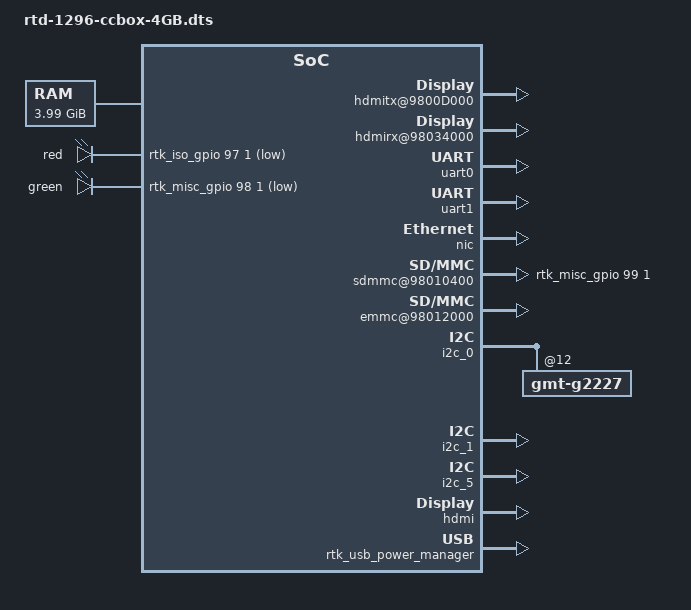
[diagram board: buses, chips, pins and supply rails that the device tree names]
/dts-v1/;
#include "../../../../../include/soc/realtek/memory.h"

/memreserve/ SYS_BOOTCODE_MEMBASE       SYS_BOOTCODE_MEMSIZE        ; /* 0x00000000 ~ 0x0002ffff */
/memreserve/ RPC_COMM_PHYS              RPC_COMM_SIZE               ; /* 0x0001f000 ~ 0x0001ffff */
/memreserve/ RPC_RINGBUF_PHYS           RPC_RINGBUF_SIZE            ; /* 0x01ffe000 ~ 0x02001fff */
/memreserve/ ROOTFS_NORMAL_START        ROOTFS_NORMAL_SIZE          ; /* 0x02200000 ~ 0x025fffff */
/memreserve/ ACPU_IDMEM_PHYS            ACPU_IDMEM_SIZE             ; /* 0x10000000 ~ 0x10013fff */
/memreserve/ 0x10100000                 0x04100000                  ; /* 0x10100000 ~ 0x141fffff */

#include "rtd-129x-ion-2GB-tee.dtsi"
#include "rtd-1296-saola-common.dtsi"

/ {
	chosen {
        linux,initrd-start = <ROOTFS_NORMAL_START>;
        linux,initrd-end = <ROOTFS_NORMAL_END>;
        bootargs = "earlycon=uart8250,mmio32,0x98007800 console=ttyS0,115200 init=/init androidboot.hardware=kylin androidboot.storage=emmc loglevel=4";
	};

	chosen {
        compatible = "Realtek,rtk1295-cma_info";
        /* NOTE ---------------------------------------------------------------------------------------------*/
        /* <flag size base>                                                                                  */
        /* flag: reserved                                                                                    */
        /* size: unit is byte                                                                                */
        /* base: unit is byte                                                                                */
        /* --------------------------------------------------------------------------------------------------*/
        /* Array size not over 8;                                                                            */
        /* You may change the max array size in KConfig, max CMA array size is CONFIG_CMA_AREAS+1            */
        /* If cma-region-enable is enabled<1>, kernel driver will use cma-region-info to initial CMA memory. */
        /* If cma-region-enable is disabled<0>, kernel driver will use cma= to initial CMA memory.           */
        /* if both setting is loaded, cma-region-info had higher priority.                                   */
        /* --------------------------------------------------------------------------------------------------*/
        cma-region-enable = <1>;
        cma-region-info = <0x00000000 0x02000000 0x20000000>;
        /*cma-region-info = <0x00000000 0x01000000 0x12c00000>, <0x00000000 0x12c00000 0x20000000>;*/
	};

    memory {
        device_type = "memory";
	reg = <0x00000000 0x98000000 0x98200000 0x66E00000 0xff800000 0x7f0000>; /* 4096 MB */
    };

    firmware {
        optee {
            compatible = "linaro,optee-tz";
            method = "smc";
        };
    };

    mem_remap {
        compatible = "Realtek,rtk1295-mem_remap";
        #address-cells = <1>;
        #size-cells = <1>;
        ranges;

        rbus {
            reg = <RBUS_BASE_PHYS RBUS_BASE_SIZE>;
        };

        common {
            reg = <RPC_COMM_PHYS RPC_COMM_SIZE>;
        };

        ringbuf {
            reg = <RPC_RINGBUF_PHYS RPC_RINGBUF_SIZE>;
        };
    };

    rtk,ion {
        rtk,ion-heap@9 {    /* Secure */
            compatible = "Realtek,rtk-ion-reserve";
            reg = <9>;
            rtk,memory-reserve = <
                ION_SECURE_HEAP_PHYS ION_SECURE_HEAP_SIZE ION_SECURE_HEAP_FLAG
                >;
        };

        rtk,ion-heap@8 {    /* Audio */
            compatible = "Realtek,rtk-ion-reserve";
            reg = <8>;
            rtk,memory-reserve = <
                ION_AUDIO_HEAP_PHYS ION_AUDIO_HEAP_SIZE ION_AUDIO_HEAP_FLAG
                >;
        };

        rtk,ion-heap@7 {    /* TYPE_MEDIA */
            compatible = "Realtek,rtk-ion-reserve";
            reg = <7>;
            rtk,memory-reserve = <
                ION_MEDIA_HEAP_PHYS1 ION_MEDIA_HEAP_SIZE1 ION_MEDIA_HEAP_FLAG1
                ION_MEDIA_HEAP_PHYS2 ION_MEDIA_HEAP_SIZE2 ION_MEDIA_HEAP_FLAG2
                ION_MEDIA_HEAP_PHYS3 ION_MEDIA_HEAP_SIZE3 ION_MEDIA_HEAP_FLAG3
                >;
        };
    };

    reserved-memory {
        #address-cells = <1>;
        #size-cells = <1>;
        ranges;

        tee_reserved: tee {
            no-map;
            size = <0x04100000>;
            alloc-ranges = <0x10100000 0x04100000>;
        };  
        ramoops_mem: ramoops_mem {
            reg = <0x22000000 0x00040000>;
            reg-names = "ramoops_mem";
            no-map;
        };
    };

    rfkill: rfkilligpio@0{
        gpios = <&rtk_iso_gpio 24 1 0>; /*bt power , output, default low */
        status = "disabled";
    };

    power-management{
        wakeup-gpio-enable = <0>;
        wakeup-gpio-list = <&rtk_iso_gpio 30 0 0>; /* power key */
        wakeup-gpio-activity = <1>;
	pwms;
	status = "okay";
    };

    rtk_misc_gpio@9801b100 {
        gpios = <&rtk_misc_gpio 55 1 0>; /* HDMITX_OFF pin default out low */
        status = "okay";
    };

    rtk_iso_gpio@98007100 {
        status = "okay";
    };

    hdmitx@9800D000 {
        gpio-hpd-detect = <&rtk_iso_gpio 6 0 0>; /* Hotplug detect pin */
	gpio-hdmitx-sel = <&rtk_misc_gpio 61 1 0>; /* TS3DV642 SEL2 */
        /* gpio-audio-mute = <&rtk_misc_gpio 100 1 1>; */ /* Audio DAC mute control */
        status = "okay";
    };

    hdcptx@9800D000 {
        status = "okay";
    };

    hdmirx@98034000 {
        gpio-rx-hpd-ctrl = <&rtk_iso_gpio 22 1 0>;
	gpio-rx-sel = <&rtk_misc_gpio 62 1 1>; /* TS3DV642 SEL2 */
        /* gpio-5v-detect = <&rtk_iso_gpio 21 0 0>; */
        status = "okay";
    };

    uart0: serial0@98007800 {
        pinctrl-names = "default";
        pinctrl-0 = <&uart0_pins>;
        status = "okay";
    };

    uart1: serial1@9801B200 {
        pinctrl-names = "default";
        pinctrl-0 = <&uart1_pins_all>;
        status = "okay";
    };

    uart2: serial2@9801B400 {
        pinctrl-names = "default";
        pinctrl-0 = <&uart2_pins_0>;
        status = "disabled";
    };

    nic: gmac@98016000 {
        pinctrl-names = "default";
        pinctrl-0 = <&rgmii0_pins>,
                <&etn_led_pins>;
        status = "okay";
    };

    hwnat: gmac@0x98060000 {
        pinctrl-names = "default";
        pinctrl-0 = <&rgmii0_pins>;
        gpio_link_led_enable = <0>; /* 0:disable, 1:enable */
        gpios = <&rtk_iso_gpio 27 1 0>; /* Link LED, output, default low */

	status = "disabled";
    };

    pcie@9804E000 {
	pinctrl-names = "default";
	pinctrl-0 = <&pcie1_clk_pins>;
	gpios = <&rtk_misc_gpio 16 1 0 >;
	status = "disabled";
    };

    pcie2@9803B000 {
	pinctrl-names = "default";
	pinctrl-0 = <&pcie2_clk_pins>;
	gpios = <&rtk_misc_gpio 19 1 0 >;
	status = "disabled";
    };

    sdio@98010A00 {
	gpios = <&rtk_iso_gpio 23 1 1>;
        status = "disabled";
    };

    sdmmc@98010400 {
        gpios = <&rtk_misc_gpio 99 1 0>; /*sd power , output, default high  (poweroff) */
        status = "okay";
    };

    emmc@98012000 {
	status = "okay";
    };

    irda@98007400 {
        pinctrl-names = "default";
        pinctrl-0 = <&ir_rx_pins>,
                <&ir_tx_pins>;
        status = "okay";

        Realtek,irrx-protocol = <1>;
        Realtek,irtx-protocol = <1>;
        Realtek,cust-code = <0xC617>;
        Realtek,scancode-msk = <0x00FF0000>;
        Realtek,custcode-msk = <0x0000FFFF>;

        /* <scancode, keycode> */
        Realtek,keymap-tbl = <
                0x12    116             //KEY_POWER             //POWER
                0x0F    102             //KEY_HOME              //HOME
                0x0D    158             //KEY_BACK              //RETURN
                0x01    103             //KEY_UP                //UP
                0x19    105             //KEY_LEFT              //LEFT
                0x40    352             //KEY_OK                //OK
                0x11    106             //KEY_RIGHT             //RIGHT
                0x09    108             //KEY_DOWN              //DOWN
                0x7F    114             //KEY_VOLUMEDOWN        //VOL-
                0x1C    115             //KEY_VOLUMEUP          //VOL+
        >;
        /*IR detect interval, NEC default=50ms, should less than 100ms, and bigger than 9ms*/
	Realtek,reg-ir-dpir = <50>;
    };

    i2c_0: i2c@0x98007D00 {
        pinctrl-names = "default";
        pinctrl-0 = <&i2c_pins_0>;
        status = "okay";

	gmt-g2227@12 {
            status = "okay";

	    /* enable pmic poweroff, property in power-management node must be disabled */
	    /*system-power-controller;*/
	};
    };

    i2c_1: i2c@0x98007C00 {
        pinctrl-names = "default";
        pinctrl-0 = <&i2c_pins_1>;
        status = "okay";
    };

    i2c_2: i2c@0x9801B700 {
        pinctrl-names = "default";
        pinctrl-0 = <&i2c_pins_2>;
        status = "disabled";
    };

    i2c_3: i2c@0x9801B900 {
        pinctrl-names = "default";
        pinctrl-0 = <&i2c_pins_3>;
        status = "disabled";
    };

    i2c_4: i2c@0x9801BA00 {
        pinctrl-names = "default";
        pinctrl-0 = <&i2c_pins_4>;
        status = "disabled";
    };

    i2c_5: i2c@0x9801BB00 {
        pinctrl-names = "default";
        pinctrl-0 = <&i2c_pins_5>;
        status = "okay";
    };

    spi@9801BD00 {
        status = "disabled";
    };

    pwm@980070D0 {
        status = "disabled";

        pwm_0 {
            enable = <1>;
        };
        pwm_1 {
            enable = <0>;
        };
        pwm_2 {
            enable = <0>;
        };
        pwm_3 {
            enable = <0>;
        };
    };

    rtd1295-lsadc@0x98012800 {
        status = "disabled";
    };

    dptx@9803D000 {
        status = "disabled";

	dp_hpd {
            gpios = <&rtk_iso_gpio 7 0 0>; /*HPD, input, default N/A */
        };
    };

    sata@9803F000 {
        status = "disabled";

        sata0: sata-port@0 {
            gpios = <&rtk_misc_gpio 56 1 1>;
        };
        sata1: sata-port@1 {
	    gpios = <&rtk_misc_gpio 56 1 1>;
        };
    };

    audio-out-devices {
        status = "okay";

        spdif {
            status = "disabled";
        };
        dac {
            status = "disabled";
        };
        i2s  {
            status = "disabled";
        };
        hdmi  {
            status = "okay";
        };
        global  {
            status = "okay";
        };
    };

    rtk_usb_power_manager {
	realtek,type_c-power-gpio;
	realtek,u2host-power-gpio = <&rtk_misc_gpio 18 1 0>;
        realtek,u3host-power-gpio = <&rtk_misc_gpio 20 1 0>;
	status = "okay";
    };

    gpio-keys {
	compatible = "gpio-keys";
	status = "disabled";

	power {
	    label = "Power Button";
	    gpios = <&rtk_iso_gpio 30 0 1>;
	    linux,code = <116>;
	};

	/*boot {
	    label = "Power Button";
	    gpios = <&rtk_iso_gpio 30 0 1>;
	    linux,code = <116>;
	};*/
    };

    gpio-fan {
	compatible = "gpio-fan";
	#cooling-cells = <2>;
	gpio-fan,speed-map = <0 0 3000 1>;
	gpios = <&rtk_misc_gpio 15 1 1>;
	status = "disabled";
    };
    
    leds {
	compatible = "gpio-leds";
	status = "okay";

	red {
		label = "red";
		gpios = <&rtk_iso_gpio 97 1 1>;
		linux,default-trigger = "default-on";
		default-active = "none";
	};

	green {
		label = "green";
		gpios = <&rtk_misc_gpio 98 1 1>;
		linux,default-trigger = "timer";
		default-active = "low";
	};
    };

    rtk_dwc3_drd@98013200 {
	status = "disabled";
    };
};
